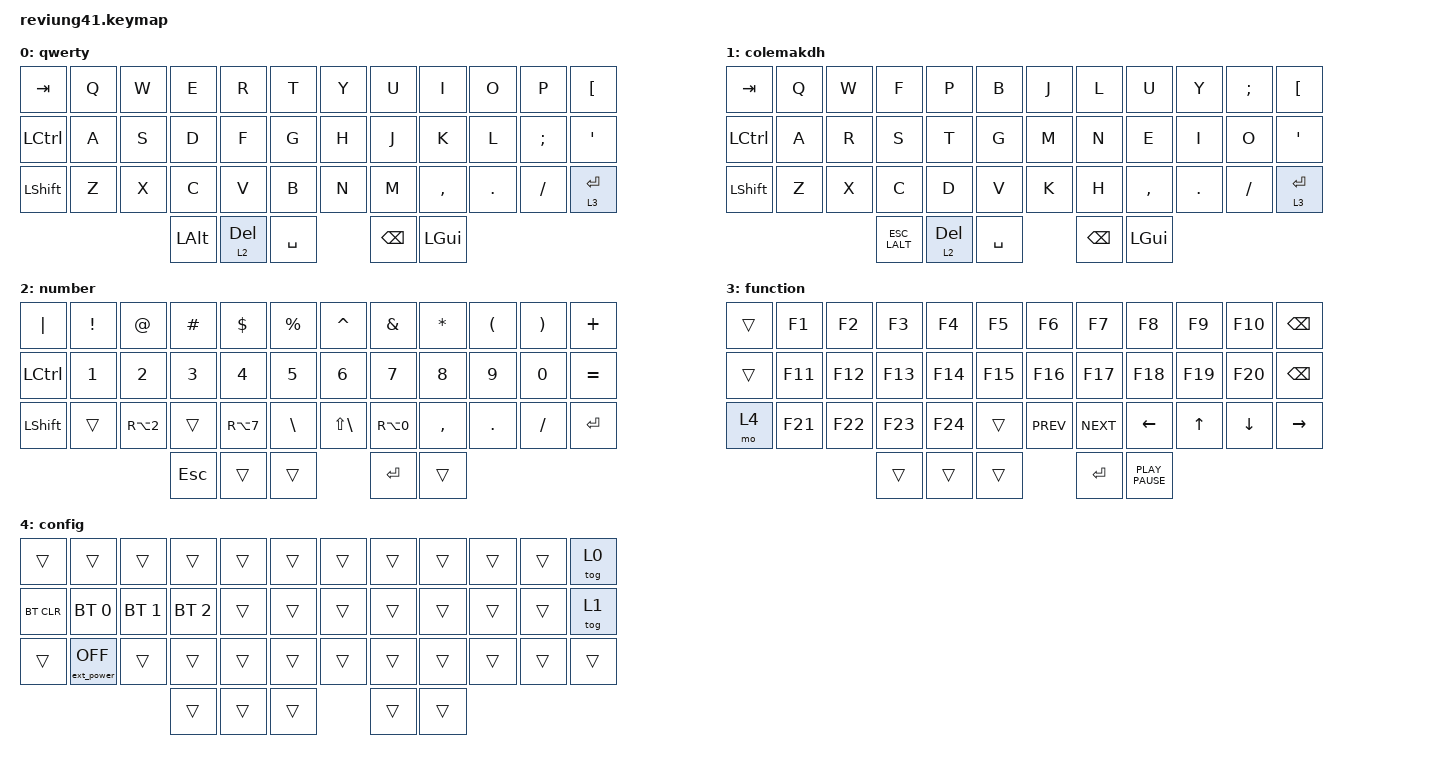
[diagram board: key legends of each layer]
/*
 * Copyright (c) 2020 The ZMK Contributors
 *
 * SPDX-License-Identifier: MIT
 */

#include <behaviors.dtsi>
#include <dt-bindings/zmk/bt.h>
#include <dt-bindings/zmk/ext_power.h>
#include <dt-bindings/zmk/keys.h>

/ {
    behaviors {
        ESC_LALT: ESC_LALT {
            compatible = "zmk,behavior-tap-dance";
            label = "ESC_LALT";
            #binding-cells = <0>;
            bindings = <&kp ESC>, <&kp LALT>;
        };

        alfa: alfa {
            compatible = "zmk,behavior-mod-morph";
            label = "ALFA";
            bindings = <&kp N2>, <&kp N2>;

            #binding-cells = <0>;
            mods = <(MOD_RALT)>;
        };
    };

    keymap {
        compatible = "zmk,keymap";

        qwerty {
            bindings = <
&kp TAB    &kp Q  &kp W  &kp E     &kp R      &kp T             &kp Y  &kp U     &kp I      &kp O    &kp P     &kp LBKT
&kp LCTRL  &kp A  &kp S  &kp D     &kp F      &kp G             &kp H  &kp J     &kp K      &kp L    &kp SEMI  &kp SQT
&kp LSHFT  &kp Z  &kp X  &kp C     &kp V      &kp B             &kp N  &kp M     &kp COMMA  &kp DOT  &kp FSLH  &lt 3 RET
                         &kp LALT  &lt 2 DEL         &kp SPACE         &kp BSPC  &kp LGUI
            >;
        };

        colemakdh {
            bindings = <
&kp TAB    &kp Q  &kp W  &kp F      &kp P      &kp B             &kp J  &kp L     &kp U      &kp Y    &kp SEMI  &kp LBKT
&kp LCTRL  &kp A  &kp R  &kp S      &kp T      &kp G             &kp M  &kp N     &kp E      &kp I    &kp O     &kp SQT
&kp LSHFT  &kp Z  &kp X  &kp C      &kp D      &kp V             &kp K  &kp H     &kp COMMA  &kp DOT  &kp FSLH  &lt 3 RET
                         &ESC_LALT  &lt 2 DEL         &kp SPACE         &kp BSPC  &kp LGUI
            >;
        };

        number {
            bindings = <
&kp PIPE   &kp EXCL  &kp AT            &kp HASH  &kp DLLR          &kp PRCNT          &kp CARET     &kp AMPS          &kp STAR   &kp LPAR  &kp RPAR   &kp PLUS
&kp LCTRL  &kp N1    &kp N2            &kp N3    &kp N4            &kp N5             &kp N6        &kp N7            &kp N8     &kp N9    &kp N0     &kp EQUAL
&kp LSHFT  &trans    &kp RA(NUMBER_2)  &trans    &kp RA(NUMBER_7)  &kp BSLH           &kp LS(BSLH)  &kp RA(NUMBER_0)  &kp COMMA  &kp DOT   &kp SLASH  &kp ENTER
                                       &kp ESC   &trans                       &trans                &kp RET           &trans
            >;
        };

        function {
            bindings = <
&trans  &kp F1   &kp F2   &kp F3   &kp F4   &kp F5           &kp F6      &kp F7      &kp F8            &kp F9   &kp F10   &kp BSPC
&trans  &kp F11  &kp F12  &kp F13  &kp F14  &kp F15          &kp F16     &kp F17     &kp F18           &kp F19  &kp F20   &kp BSPC
&mo 4   &kp F21  &kp F22  &kp F23  &kp F24  &trans           &kp K_PREV  &kp K_NEXT  &kp LEFT          &kp UP   &kp DOWN  &kp RIGHT
                          &trans   &trans            &trans              &kp RET     &kp K_PLAY_PAUSE
            >;
        };

        config {
            bindings = <
&trans      &trans             &trans        &trans        &trans  &trans          &trans  &trans  &trans  &trans  &trans  &tog 0
&bt BT_CLR  &bt BT_SEL 0       &bt BT_SEL 1  &bt BT_SEL 2  &trans  &trans          &trans  &trans  &trans  &trans  &trans  &tog 1
&trans      &ext_power EP_OFF  &trans        &trans        &trans  &trans          &trans  &trans  &trans  &trans  &trans  &trans
                                             &trans        &trans          &trans          &trans  &trans
            >;
        };
    };
};
